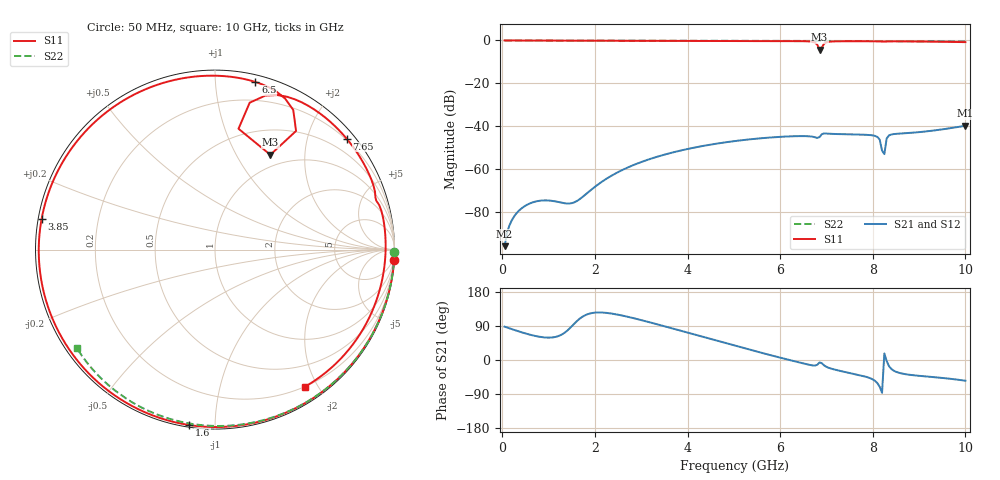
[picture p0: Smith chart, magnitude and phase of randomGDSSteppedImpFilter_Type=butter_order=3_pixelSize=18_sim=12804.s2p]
! freq	dB(S11)	phase(S11)	dB(S12)	phase(S12)
!  dB(S21)	phase(S21)	dB(S22)	phase(S22)
!S-par simulation data
#  GHz  S  DB  R 50
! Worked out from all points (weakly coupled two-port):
!   200 points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, 50 MHz to 10 GHz, reference 50 ohm
!   highest |S21| = -39.87 dB at 10 GHz (marker M1); lowest = -96.1 dB at 50 MHz (marker M2)
!   lowest |S11| = -4.3 dB at 6.85 GHz (marker M3), VSWR 4.15, Z = 41.3 + j69.7 ohm
!   |S11| at or under -10 dB: nowhere
!   |S22| runs from -0.5 to 0.0 dB; largest |S21 - S12| = 0
!   S11 on the Smith chart (normalised r, x): 50 MHz: 0, -33; 1.6 GHz: 0.01, -0.86; 3.85 GHz: 0.01, +0.09; 6.5 GHz: 0.05, +1.27; 7.65 GHz: 0.18, +2.73; 10 GHz: 0.20, -1.83
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0.05  -0.00 -3.5  -96.13 88.0  -96.13 88.0  -0.00 -0.8
0.85  -0.07 -56.0  -74.81 60.4  -74.81 60.4  -0.02 -14.2
1.6  -0.11 -98.4  -75.15 101.3  -75.15 101.3  -0.03 -26.5
1.75  -0.11 -105.9  -72.83 115.6  -72.83 115.6  -0.04 -28.9
2.55  -0.13 -141.7  -60.98 118.3  -60.98 118.3  -0.05 -41.7
3.4  -0.15 -174.1  -53.98 92.4  -53.98 92.4  -0.07 -55.0
3.85  -0.17 170.1  -51.45 77.3  -51.45 77.3  -0.08 -61.8
5.05  -0.21 129.4  -46.93 36.9  -46.93 36.9  -0.12 -79.3
5.85  -0.25 101.7  -45.25 10.9  -45.25 10.9  -0.15 -90.5
6.5  -0.35 76.5  -44.69 -9.0  -44.69 -9.0  -0.19 -99.4
6.7  -0.65 65.1  -44.98 -14.3  -44.98 -14.3  -0.20 -102.0
6.8  -1.93 55.7  -45.56 -12.7  -45.56 -12.7  -0.20 -103.4
6.85  -4.27 59.7  -45.17 -6.4  -45.17 -6.4  -0.21 -104.0
6.9  -3.27 79.0  -43.79 -8.4  -43.79 -8.4  -0.21 -104.7
7  -0.89 71.9  -43.50 -18.1  -43.50 -18.1  -0.22 -106.0
7.65  -0.36 40.1  -43.94 -38.1  -43.94 -38.1  -0.26 -114.5
8.1  -0.42 22.0  -45.10 -61.1  -45.10 -61.1  -0.30 -120.4
8.25  -0.55 16.9  -53.12 17.3  -53.12 17.3  -0.32 -122.3
8.3  -0.46 15.1  -45.79 -2.6  -45.79 -2.6  -0.32 -122.8
8.35  -0.43 13.0  -44.38 -16.2  -44.38 -16.2  -0.32 -123.5
9.15  -0.52 -19.8  -42.51 -43.4  -42.51 -43.4  -0.39 -133.7
10  -0.78 -56.8  -39.87 -54.6  -39.87 -54.6  -0.49 -144.5
